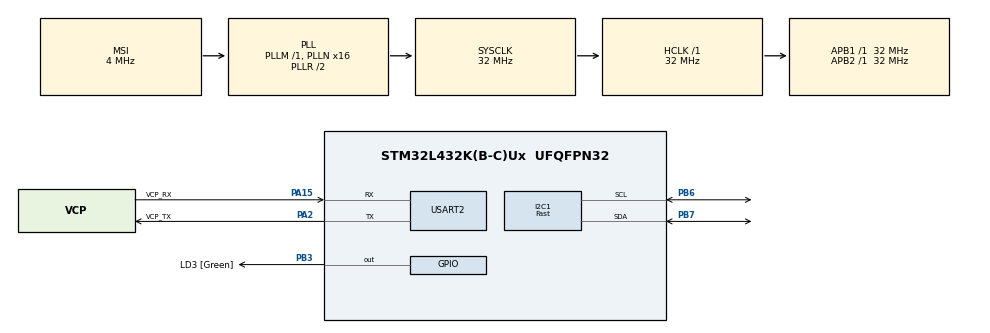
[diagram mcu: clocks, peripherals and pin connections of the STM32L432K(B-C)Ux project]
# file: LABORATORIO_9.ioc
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I2C1.I2C_Speed_Mode=I2C_Fast
I2C1.Timing=0x00300F38
Mcu.Family=STM32L4
Mcu.Name=STM32L432K(B-C)Ux
Mcu.Package=UFQFPN32
NVIC.PriorityGroup=NVIC_PRIORITYGROUP_4
PA0.GPIO_Label=MCO [High speed clock in]
PA0.Mode=HSE-External-Clock-Source-for-LittleOrca
PA0.Signal=RCC_CK_IN
PA13\ (JTMS-SWDIO).GPIO_Label=SWDIO
PA13\ (JTMS-SWDIO).Mode=Serial_Wire
PA13\ (JTMS-SWDIO).Signal=SYS_JTMS-SWDIO
PA14\ (JTCK-SWCLK).GPIO_Label=SWCLK
PA14\ (JTCK-SWCLK).Mode=Serial_Wire
PA14\ (JTCK-SWCLK).Signal=SYS_JTCK-SWCLK
PA15\ (JTDI).GPIO_Label=VCP_RX
PA15\ (JTDI).Mode=Asynchronous
PA15\ (JTDI).Signal=USART2_RX
PA2.GPIO_Label=VCP_TX
PA2.Mode=Asynchronous
PA2.Signal=USART2_TX
PB3\ (JTDO-TRACESWO).GPIO_Label=LD3 [Green]
PB3\ (JTDO-TRACESWO).Signal=GPIO_Output
PB6.Mode=I2C
PB6.Signal=I2C1_SCL
PB7.Mode=I2C
PB7.Signal=I2C1_SDA
PC14-OSC32_IN\ (PC14).Mode=LSE-External-Oscillator
PC14-OSC32_IN\ (PC14).Signal=RCC_OSC32_IN
PC15-OSC32_OUT\ (PC15).Mode=LSE-External-Oscillator
PC15-OSC32_OUT\ (PC15).Signal=RCC_OSC32_OUT
ProjectManager.HeapSize=0x200
ProjectManager.StackSize=0x400
ProjectManager.TargetToolchain=STM32CubeIDE
RCC.AHBFreq_Value=32000000
RCC.APB1Freq_Value=32000000
RCC.APB1TimFreq_Value=32000000
RCC.APB2Freq_Value=32000000
RCC.APB2TimFreq_Value=32000000
RCC.CortexFreq_Value=32000000
RCC.HCLKFreq_Value=32000000
RCC.HSE_VALUE=8000000
RCC.HSI16_VALUE=16000000
RCC.HSI48_VALUE=48000000
RCC.HSI_VALUE=16000000
RCC.MSI_VALUE=4000000
RCC.PLLMUL=RCC_PLLMUL_4
RCC.PLLN=16
RCC.SYSCLKFreq_VALUE=32000000
RCC.SYSCLKSource=RCC_SYSCLKSOURCE_PLLCLK
RCC.VCOOutputFreq_Value=64000000
USART2.VirtualMode-Asynchronous=VM_ASYNC
board=NUCLEO-L432KC

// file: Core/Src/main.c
/* USER CODE BEGIN Header */
/**
  ******************************************************************************
  * @file           : main.c
  * @brief          : Main program body
  ******************************************************************************
  * @attention
  *
  * Copyright (c) 2022 STMicroelectronics.
  * All rights reserved.
  *
  * This software is licensed under terms that can be found in the LICENSE file
  * in the root directory of this software component.
  * If no LICENSE file comes with this software, it is provided AS-IS.
  *
  ******************************************************************************
  */
/* USER CODE END Header */
#include "main.h"

/* USER CODE BEGIN Includes */
#include "fonts.h"
#include "ssd1306.h"
/* USER CODE END Includes */

I2C_HandleTypeDef hi2c1;

UART_HandleTypeDef huart2;

void SystemClock_Config(void);
static void MX_GPIO_Init(void);
static void MX_USART2_UART_Init(void);
static void MX_I2C1_Init(void);

int main(void)
{

  /* MCU Configuration--------------------------------------------------------*/

  /* Reset of all peripherals, Initializes the Flash interface and the Systick. */
  HAL_Init();

  /* Configure the system clock */
  SystemClock_Config();

  /* Initialize all configured peripherals */
  MX_GPIO_Init();
  MX_USART2_UART_Init();
  MX_I2C1_Init();
  /* USER CODE BEGIN 2 */
  SSD1306_Init();
   char snum[5];

   SSD1306_GotoXY (0,0);
   SSD1306_Puts ("SISTEMAS", &Font_11x18, 1);
   SSD1306_GotoXY (0, 30);
   SSD1306_Puts ("EMBEBIDOS", &Font_11x18, 1);
   SSD1306_UpdateScreen();
   HAL_Delay (1000);

   SSD1306_ScrollRight(0,7);
   HAL_Delay(3000);
   SSD1306_ScrollLeft(0,7);
   HAL_Delay(3000);
   SSD1306_Stopscroll();
   SSD1306_Clear();
   SSD1306_GotoXY (8,0);
   SSD1306_Puts ("DIAS PARA NAVIDAD", &Font_7x10, 1);
  /* USER CODE END 2 */

  /* Infinite loop */
  /* USER CODE BEGIN WHILE */
  while (1)
  {
	  for ( int x = 1; x <= 42 ; x++ )
	  	{
	  		itoa(x, snum, 10);
	  		SSD1306_GotoXY (0, 30);
	  		SSD1306_Puts ("             ", &Font_16x26, 1);
	  		SSD1306_UpdateScreen();
	  		if(x < 10) {
	  			SSD1306_GotoXY (53, 30);
	  		}
	  		else if (x < 100) {
	  			SSD1306_GotoXY (45, 30);
	  		}

	  		SSD1306_Puts (snum, &Font_16x26, 1);
	  		SSD1306_UpdateScreen();
	  		HAL_Delay (300);
	  	    }
    /* USER CODE END WHILE */

  }
}

void SystemClock_Config(void)
{
  RCC_OscInitTypeDef RCC_OscInitStruct = {0};
  RCC_ClkInitTypeDef RCC_ClkInitStruct = {0};

  /** Configure the main internal regulator output voltage
  */
  if (HAL_PWREx_ControlVoltageScaling(PWR_REGULATOR_VOLTAGE_SCALE1) != HAL_OK)
  {
    Error_Handler();
  }

  /** Configure LSE Drive Capability
  */
  HAL_PWR_EnableBkUpAccess();
  __HAL_RCC_LSEDRIVE_CONFIG(RCC_LSEDRIVE_LOW);

  /** Initializes the RCC Oscillators according to the specified parameters
  * in the RCC_OscInitTypeDef structure.
  */
  RCC_OscInitStruct.OscillatorType = RCC_OSCILLATORTYPE_LSE|RCC_OSCILLATORTYPE_MSI;
  RCC_OscInitStruct.LSEState = RCC_LSE_ON;
  RCC_OscInitStruct.MSIState = RCC_MSI_ON;
  RCC_OscInitStruct.MSICalibrationValue = 0;
  RCC_OscInitStruct.MSIClockRange = RCC_MSIRANGE_6;
  RCC_OscInitStruct.PLL.PLLState = RCC_PLL_ON;
  RCC_OscInitStruct.PLL.PLLSource = RCC_PLLSOURCE_MSI;
  RCC_OscInitStruct.PLL.PLLM = 1;
  RCC_OscInitStruct.PLL.PLLN = 16;
  RCC_OscInitStruct.PLL.PLLP = RCC_PLLP_DIV7;
  RCC_OscInitStruct.PLL.PLLQ = RCC_PLLQ_DIV2;
  RCC_OscInitStruct.PLL.PLLR = RCC_PLLR_DIV2;
  if (HAL_RCC_OscConfig(&RCC_OscInitStruct) != HAL_OK)
  {
    Error_Handler();
  }

  /** Initializes the CPU, AHB and APB buses clocks
  */
  RCC_ClkInitStruct.ClockType = RCC_CLOCKTYPE_HCLK|RCC_CLOCKTYPE_SYSCLK
                              |RCC_CLOCKTYPE_PCLK1|RCC_CLOCKTYPE_PCLK2;
  RCC_ClkInitStruct.SYSCLKSource = RCC_SYSCLKSOURCE_PLLCLK;
  RCC_ClkInitStruct.AHBCLKDivider = RCC_SYSCLK_DIV1;
  RCC_ClkInitStruct.APB1CLKDivider = RCC_HCLK_DIV1;
  RCC_ClkInitStruct.APB2CLKDivider = RCC_HCLK_DIV1;

  if (HAL_RCC_ClockConfig(&RCC_ClkInitStruct, FLASH_LATENCY_1) != HAL_OK)
  {
    Error_Handler();
  }

  /** Enable MSI Auto calibration
  */
  HAL_RCCEx_EnableMSIPLLMode();
}

static void MX_I2C1_Init(void)
{

  hi2c1.Instance = I2C1;
  hi2c1.Init.Timing = 0x00300F38;
  hi2c1.Init.OwnAddress1 = 0;
  hi2c1.Init.AddressingMode = I2C_ADDRESSINGMODE_7BIT;
  hi2c1.Init.DualAddressMode = I2C_DUALADDRESS_DISABLE;
  hi2c1.Init.OwnAddress2 = 0;
  hi2c1.Init.OwnAddress2Masks = I2C_OA2_NOMASK;
  hi2c1.Init.GeneralCallMode = I2C_GENERALCALL_DISABLE;
  hi2c1.Init.NoStretchMode = I2C_NOSTRETCH_DISABLE;
  if (HAL_I2C_Init(&hi2c1) != HAL_OK)
  {
    Error_Handler();
  }

  /** Configure Analogue filter
  */
  if (HAL_I2CEx_ConfigAnalogFilter(&hi2c1, I2C_ANALOGFILTER_ENABLE) != HAL_OK)
  {
    Error_Handler();
  }

  /** Configure Digital filter
  */
  if (HAL_I2CEx_ConfigDigitalFilter(&hi2c1, 0) != HAL_OK)
  {
    Error_Handler();
  }

}

static void MX_USART2_UART_Init(void)
{

  huart2.Instance = USART2;
  huart2.Init.BaudRate = 115200;
  huart2.Init.WordLength = UART_WORDLENGTH_8B;
  huart2.Init.StopBits = UART_STOPBITS_1;
  huart2.Init.Parity = UART_PARITY_NONE;
  huart2.Init.Mode = UART_MODE_TX_RX;
  huart2.Init.HwFlowCtl = UART_HWCONTROL_NONE;
  huart2.Init.OverSampling = UART_OVERSAMPLING_16;
  huart2.Init.OneBitSampling = UART_ONE_BIT_SAMPLE_DISABLE;
  huart2.AdvancedInit.AdvFeatureInit = UART_ADVFEATURE_NO_INIT;
  if (HAL_UART_Init(&huart2) != HAL_OK)
  {
    Error_Handler();
  }

}

static void MX_GPIO_Init(void)
{
  GPIO_InitTypeDef GPIO_InitStruct = {0};

  /* GPIO Ports Clock Enable */
  __HAL_RCC_GPIOC_CLK_ENABLE();
  __HAL_RCC_GPIOA_CLK_ENABLE();
  __HAL_RCC_GPIOB_CLK_ENABLE();

  /*Configure GPIO pin Output Level */
  HAL_GPIO_WritePin(LD3_GPIO_Port, LD3_Pin, GPIO_PIN_RESET);

  /*Configure GPIO pin : LD3_Pin */
  GPIO_InitStruct.Pin = LD3_Pin;
  GPIO_InitStruct.Mode = GPIO_MODE_OUTPUT_PP;
  GPIO_InitStruct.Pull = GPIO_NOPULL;
  GPIO_InitStruct.Speed = GPIO_SPEED_FREQ_LOW;
  HAL_GPIO_Init(LD3_GPIO_Port, &GPIO_InitStruct);

}

void Error_Handler(void)
{
  __disable_irq();
  while (1)
  {
  }
}
